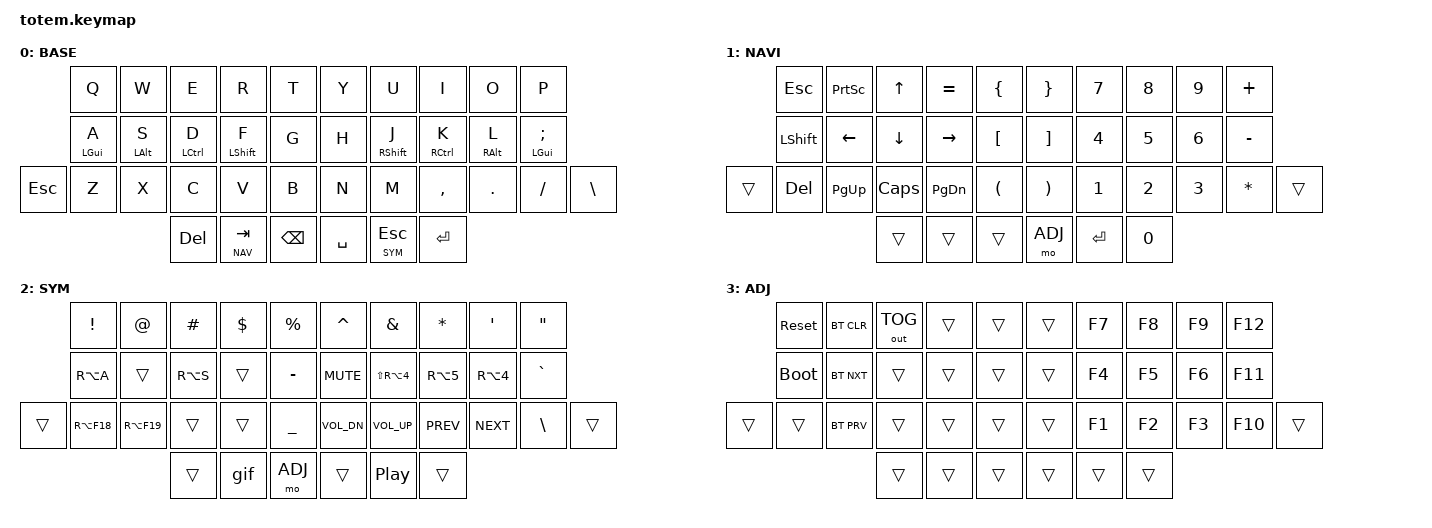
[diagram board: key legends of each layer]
//
//                                                        ▀▀▀▀▀     ▀▀▀▀▀          ▀▀█▀▀
//                                                        ▄▀▀▀▄  ▄  ▄▀▀▀▄  ▄  ▄▀▀▀▄  █  ▄▀▀▀▄
//                                                        █   █  █  █   █  █  █   █  █  █   █
//                                                         ▀▀▀   █   ▀▀▀   █   ▀▀▀   ▀   ▀▀▀
//                                                               █      ▄▄▄█▄▄▄    █   █  
//                                                               ▀      █  █  █     █▄█
//                                                             ▀▀▀▀▀    █  █  █      ▀
//                                                                      ▀  ▀  ▀
//
// ▄▄▄▄▄▄▄▄▄▄▄▄▄▄▄▄▄▄▄▄▄▄▄▄▄▄▄▄▄▄▄▄▄▄▄▄▄▄▄▄▄▄▄▄▄▄▄▄▄▄▄▄▄▄▄▄▄▄▄▄▄▄▄▄▄▄▄▄▄▄▄▄▄▄▄▄▄▄▄▄▄▄▄▄▄▄▄▄▄▄▄▄▄▄▄▄▄▄▄▄▄▄▄▄▄▄▄▄▄▄▄▄▄▄▄▄▄▄▄▄▄▄▄▄▄▄▄▄▄▄▄▄▄▄▄▄▄▄▄▄▄▄▄▄▄▄▄▄▄
       

#include <behaviors.dtsi>
#include <dt-bindings/zmk/keys.h>
#include <dt-bindings/zmk/bt.h>
#include <dt-bindings/zmk/outputs.h>

#define BASE 0
#define NAV  1
#define SYM  2
#define ADJ  3

&mt {
  quick-tap-ms = <100>;
  global-quick-tap;
  flavor = "tap-preferred";
  tapping-term-ms = <170>;
};

/ {
    combos {
            compatible = "zmk,combos";
            combo_esc {
                timeout-ms = <50>;
                key-positions = <0 1>;
                bindings = <&kp ESC>;
            };

      combo_enter_thumb {
    timeout-ms = <80>;
    key-positions = <34 35>;
    bindings = <&kp RET>;
}; 
      

    };

    macros {
        gif: gif {
            label = "giphy";
            compatible = "zmk,behavior-macro";
            #binding-cells = <0>;
            bindings
                = <&macro_press &kp LSHFT>
                , <&macro_tap &kp N2>
                , <&macro_release &kp LSHFT>
                , <&macro_tap &kp G &kp I &kp F>
                ;
        };
    };

        keymap {
                compatible = "zmk,keymap";
// ▄▄▄▄▄▄▄▄▄▄▄▄▄▄▄▄▄▄▄▄▄▄▄▄▄▄▄▄▄▄▄▄▄▄▄▄▄▄▄▄▄▄▄▄▄▄▄▄▄▄▄▄▄▄▄▄▄▄▄▄▄▄▄▄▄▄▄▄▄▄▄▄▄▄▄▄▄▄▄▄▄▄▄▄▄▄▄▄▄▄▄▄▄▄▄▄▄▄▄▄▄▄▄▄▄▄▄▄▄▄▄▄▄▄▄▄▄▄▄▄▄▄▄▄▄▄▄▄▄▄▄▄▄▄▄▄▄▄▄▄▄▄▄▄▄▄▄▄▄
//             ┏━━━━━━━━━━━┳━━━━━━━━━━━┳━━━━━━━━━━━┳━━━━━━━━━━━┳━━━━━━━━━━━┓   ┏━━━━━━━━━━━┳━━━━━━━━━━━┳━━━━━━━━━━━┳━━━━━━━━━━━┳━━━━━━━━━━━┓
//             ┃     Q     ┃     W     ┃     E     ┃     R     ┃     T     ┃   ┃     Y     ┃     U     ┃     I     ┃     O     ┃     P     ┃
//             ┣━━━━━━━━━━━╋━━━━━━━━━━━╋━━━━━━━━━━━╋━━━━━━━━━━━╋━━━━━━━━━━━┫   ┣━━━━━━━━━━━╋━━━━━━━━━━━╋━━━━━━━━━━━╋━━━━━━━━━━━╋━━━━━━━━━━━┫
//             ┃     A     ┃     R     ┃     S     ┃     T     ┃     D     ┃   ┃     H     ┃     J     ┃     K     ┃     L     ┃     ;     ┃
// ┏━━━━━━━━━━━╋━━━━━━━━━━━╋━━━━━━━━━━━╋━━━━━━━━━━━╋━━━━━━━━━━━╋━━━━━━━━━━━┫   ┣━━━━━━━━━━━╋━━━━━━━━━━━╋━━━━━━━━━━━╋━━━━━━━━━━━╋━━━━━━━━━━━╋━━━━━━━━━━━┓
// ┃           ┃     Z     ┃     X     ┃     C     ┃     V     ┃     B     ┃   ┃     N     ┃     M     ┃     ,     ┃     .     ┃     /     ┃      \    ┃
// ┗━━━━━━━━━━━┻━━━━━━━━━━━┻━━━━━━━━━━━╋━━━━━━━━━━━╋━━━━━━━━━━━╋━━━━━━━━━━━┫   ┣━━━━━━━━━━━╋━━━━━━━━━━━╋━━━━━━━━━━━╋━━━━━━━━━━━┻━━━━━━━━━━━┻━━━━━━━━━━━┛
//                                     ┃   DEL     ┃    TAB    ┃    bspc   ┃   ┃   SPACE   ┃   RET     ┃   SYM    ┃
//                                     ┗━━━━━━━━━━━┻━━━━━━━━━━━┻━━━━━━━━━━━┛   ┗━━━━━━━━━━━┻━━━━━━━━━━━┻━━━━━━━━━━━┛
base_layer {
label= "BASE";
bindings = <
                &kp Q       &kp W       &kp E       &kp R       &kp T           &kp Y       &kp U       &kp I       &kp O       &kp P
                &mt LGUI A  &mt LALT S  &mt LCTRL D &mt LSHFT F &kp G           &kp H       &mt RSHFT J &mt RCTRL K &mt RALT L  &mt LGUI SEMI
    &kp ESC     &kp Z       &kp X       &kp C       &kp V       &kp B           &kp N       &kp M       &kp COMMA   &kp DOT     &kp FSLH    &kp BSLH
                                        &kp DEL   &lt NAV TAB   &kp BSPC        &kp SPACE   &lt SYM ESC &kp RET
        >;
};
// ▄▄▄▄▄▄▄▄▄▄▄▄▄▄▄▄▄▄▄▄▄▄▄▄▄▄▄▄▄▄▄▄▄▄▄▄▄▄▄▄▄▄▄▄▄▄▄▄▄▄▄▄▄▄▄▄▄▄▄▄▄▄▄▄▄▄▄▄▄▄▄▄▄▄▄▄▄▄▄▄▄▄▄▄▄▄▄▄▄▄▄▄▄▄▄▄▄▄▄▄▄▄▄▄▄▄▄▄▄▄▄▄▄▄▄▄▄▄▄▄▄▄▄▄▄▄▄▄▄▄▄▄▄▄▄▄▄▄▄▄▄▄▄▄▄▄▄▄▄


                nav_layer {
// ┏━━━━━━━━━━━━━━━━━━━━━━━━━━━━━━━━━━━━━━━┓
label= "NAVI"                              ;
// ┗━━━━━━━━━━━━━━━━━━━━━━━━━━━━━━━━━━━━━━━┛
//             ┏━━━━━━━━━━━┳━━━━━━━━━━━┳━━━━━━━━━━━┳━━━━━━━━━━━┳━━━━━━━━━━━┓   ┏━━━━━━━━━━━┳━━━━━━━━━━━┳━━━━━━━━━━━┳━━━━━━━━━━━┳━━━━━━━━━━━┓
//             ┃           ┃           ┃     UP    ┃     =     ┃     {     ┃   ┃     }     ┃     7     ┃     8     ┃     9     ┃     +     ┃
//             ┣━━━━━━━━━━━╋━━━━━━━━━━━╋━━━━━━━━━━━╋━━━━━━━━━━━╋━━━━━━━━━━━┫   ┣━━━━━━━━━━━╋━━━━━━━━━━━╋━━━━━━━━━━━╋━━━━━━━━━━━╋━━━━━━━━━━━┫
//             ┃   SHIFT   ┃   LEFT    ┃    DOWN   ┃   RIGHT   ┃     [     ┃   ┃     ]     ┃     4     ┃     5     ┃     6     ┃     -     ┃
// ┏━━━━━━━━━━━╋━━━━━━━━━━━╋━━━━━━━━━━━╋━━━━━━━━━━━╋━━━━━━━━━━━╋━━━━━━━━━━━┫   ┣━━━━━━━━━━━╋━━━━━━━━━━━╋━━━━━━━━━━━╋━━━━━━━━━━━╋━━━━━━━━━━━╋━━━━━━━━━━━┓
// ┃           ┃           ┃   P UP    ┃  C LOCK   ┃  P DOWN   ┃     (     ┃   ┃     )     ┃     1     ┃     2     ┃     3     ┃     *     ┃           ┃
// ┗━━━━━━━━━━━┻━━━━━━━━━━━┻━━━━━━━━━━━╋━━━━━━━━━━━╋━━━━━━━━━━━╋━━━━━━━━━━━┫   ┣━━━━━━━━━━━╋━━━━━━━━━━━╋━━━━━━━━━━━╋━━━━━━━━━━━┻━━━━━━━━━━━┻━━━━━━━━━━━┛
//                                     ┃           ┃    TAB    ┃    SPC    ┃   ┃    DEL    ┃     0     ┃           ┃
//                                     ┗━━━━━━━━━━━┻━━━━━━━━━━━┻━━━━━━━━━━━┛   ┗━━━━━━━━━━━┻━━━━━━━━━━━┻━━━━━━━━━━━┛
 bindings = <
// ╷           ╷           ╷           ╷           ╷           ╷           ╷   ╷           ╷           ╷           ╷           ╷           ╷           ╷

                &kp ESC     &kp PSCRN   &kp UP      &kp EQUAL   &kp LBRC        &kp RBRC    &kp N7   &kp N8   &kp N9   &kp PLUS
                &kp LSHFT   &kp LEFT    &kp DOWN    &kp RIGHT   &kp LBKT        &kp RBKT    &kp N4   &kp N5   &kp N6   &kp MINUS
    &trans      &kp DEL     &kp PG_UP   &kp CAPS    &kp PG_DN   &kp LPAR        &kp RPAR    &kp N1   &kp N2   &kp N3   &kp ASTERISK &trans
                                        &trans      &trans      &trans          &mo ADJ     &kp RET  &kp N0
                        >;
                };

// ▄▄▄▄▄▄▄▄▄▄▄▄▄▄▄▄▄▄▄▄▄▄▄▄▄▄▄▄▄▄▄▄▄▄▄▄▄▄▄▄▄▄▄▄▄▄▄▄▄▄▄▄▄▄▄▄▄▄▄▄▄▄▄▄▄▄▄▄▄▄▄▄▄▄▄▄▄▄▄▄▄▄▄▄▄▄▄▄▄▄▄▄▄▄▄▄▄▄▄▄▄▄▄▄▄▄▄▄▄▄▄▄▄▄▄▄▄▄▄▄▄▄▄▄▄▄▄▄▄▄▄▄▄▄▄▄▄▄▄▄▄▄▄▄▄▄▄▄▄


                sim_layer {
// ┏━━━━━━━━━━━━━━━━━━━━━━━━━━━━━━━━━━━━━━━┓
label= "SYM"                               ;
// ┗━━━━━━━━━━━━━━━━━━━━━━━━━━━━━━━━━━━━━━━┛
//             ┏━━━━━━━━━━━┳━━━━━━━━━━━┳━━━━━━━━━━━┳━━━━━━━━━━━┳━━━━━━━━━━━┓   ┏━━━━━━━━━━━┳━━━━━━━━━━━┳━━━━━━━━━━━┳━━━━━━━━━━━┳━━━━━━━━━━━┓
//             ┃     !     ┃     @     ┃     #     ┃     $     ┃     %     ┃   ┃     ˆ     ┃     &     ┃     *     ┃     '     ┃     "     ┃
//             ┣━━━━━━━━━━━╋━━━━━━━━━━━╋━━━━━━━━━━━╋━━━━━━━━━━━╋━━━━━━━━━━━┫   ┣━━━━━━━━━━━╋━━━━━━━━━━━╋━━━━━━━━━━━╋━━━━━━━━━━━╋━━━━━━━━━━━┫
//             ┃     Ä     ┃           ┃    SZ     ┃           ┃     -     ┃   ┃   MUTE    ┃   YEN     ┃   EURO    ┃  POUND    ┃     Ö     ┃
// ┏━━━━━━━━━━━╋━━━━━━━━━━━╋━━━━━━━━━━━╋━━━━━━━━━━━╋━━━━━━━━━━━╋━━━━━━━━━━━┫   ┣━━━━━━━━━━━╋━━━━━━━━━━━╋━━━━━━━━━━━╋━━━━━━━━━━━╋━━━━━━━━━━━╋━━━━━━━━━━━┓
// ┃           ┃  EMAIL1   ┃  EMAIL2   ┃           ┃           ┃    under  ┃   ┃   VOL-    ┃   VOL+    ┃   LAST    ┃   NEXT    ┃     \     ┃           ┃
// ┗━━━━━━━━━━━┻━━━━━━━━━━━┻━━━━━━━━━━━╋━━━━━━━━━━━╋━━━━━━━━━━━╋━━━━━━━━━━━┫   ┣━━━━━━━━━━━╋━━━━━━━━━━━╋━━━━━━━━━━━╋━━━━━━━━━━━┻━━━━━━━━━━━┻━━━━━━━━━━━┛
//                                     ┃           ┃    GIF    ┃    ADJ    ┃   ┃           ┃           ┃           ┃
//                                     ┗━━━━━━━━━━━┻━━━━━━━━━━━┻━━━━━━━━━━━┛   ┗━━━━━━━━━━━┻━━━━━━━━━━━┻━━━━━━━━━━━┛
 bindings = <
// ╷           ╷           ╷           ╷           ╷           ╷           ╷   ╷           ╷           ╷           ╷           ╷           ╷           ╷

                &kp EXCL    &kp AT      &kp HASH    &kp DLLR    &kp PRCNT       &kp CARET   &kp AMPS    &kp ASTERISK   &kp SQT     &kp DQT       
                &kp RA(A)   &trans      &kp RA(S)   &trans      &kp MINUS       &kp C_MUTE  &kp LS(RA(N4)) &kp RA(N5) &kp RA(N4)   &kp GRAVE 
    &trans      &kp RA(F18) &kp RA(F19) &trans      &trans      &kp UNDER       &kp C_VOL_DN &kp C_VOL_UP &kp C_PREV &kp C_NEXT  &kp BSLH   &trans         
                                        &trans      &gif        &mo ADJ         &trans      &kp C_PP    &trans      
                        >;
                };

// ▄▄▄▄▄▄▄▄▄▄▄▄▄▄▄▄▄▄▄▄▄▄▄▄▄▄▄▄▄▄▄▄▄▄▄▄▄▄▄▄▄▄▄▄▄▄▄▄▄▄▄▄▄▄▄▄▄▄▄▄▄▄▄▄▄▄▄▄▄▄▄▄▄▄▄▄▄▄▄▄▄▄▄▄▄▄▄▄▄▄▄▄▄▄▄▄▄▄▄▄▄▄▄▄▄▄▄▄▄▄▄▄▄▄▄▄▄▄▄▄▄▄▄▄▄▄▄▄▄▄▄▄▄▄▄▄▄▄▄▄▄▄▄▄▄▄▄▄▄


                adjust_layer {
// ┏━━━━━━━━━━━━━━━━━━━━━━━━━━━━━━━━━━━━━━━┓
label= "ADJ"                               ;
// ┗━━━━━━━━━━━━━━━━━━━━━━━━━━━━━━━━━━━━━━━┛
//             ┏━━━━━━━━━━━┳━━━━━━━━━━━┳━━━━━━━━━━━┳━━━━━━━━━━━┳━━━━━━━━━━━┓   ┏━━━━━━━━━━━┳━━━━━━━━━━━┳━━━━━━━━━━━┳━━━━━━━━━━━┳━━━━━━━━━━━┓
//             ┃   RESET   ┃ BT CLEAR  ┃  OUT TOG  ┃           ┃           ┃   ┃           ┃    F7     ┃    F8     ┃    F9     ┃    F12    ┃
//             ┣━━━━━━━━━━━╋━━━━━━━━━━━╋━━━━━━━━━━━╋━━━━━━━━━━━╋━━━━━━━━━━━┫   ┣━━━━━━━━━━━╋━━━━━━━━━━━╋━━━━━━━━━━━╋━━━━━━━━━━━╋━━━━━━━━━━━┫
//             ┃ BOOTLOAD  ┃ BT NEXT   ┃           ┃           ┃           ┃   ┃           ┃    F4     ┃    F5     ┃    F6     ┃    F11    ┃
// ┏━━━━━━━━━━━╋━━━━━━━━━━━╋━━━━━━━━━━━╋━━━━━━━━━━━╋━━━━━━━━━━━╋━━━━━━━━━━━┫   ┣━━━━━━━━━━━╋━━━━━━━━━━━╋━━━━━━━━━━━╋━━━━━━━━━━━╋━━━━━━━━━━━╋━━━━━━━━━━━┓
// ┃           ┃           ┃ BT PREV   ┃           ┃           ┃           ┃   ┃           ┃    F1     ┃    F2     ┃    F3     ┃    F10    ┃           ┃
// ┗━━━━━━━━━━━┻━━━━━━━━━━━┻━━━━━━━━━━━╋━━━━━━━━━━━╋━━━━━━━━━━━╋━━━━━━━━━━━┫   ┣━━━━━━━━━━━╋━━━━━━━━━━━╋━━━━━━━━━━━╋━━━━━━━━━━━┻━━━━━━━━━━━┻━━━━━━━━━━━┛
//                                     ┃           ┃           ┃           ┃   ┃           ┃           ┃           ┃
//                                     ┗━━━━━━━━━━━┻━━━━━━━━━━━┻━━━━━━━━━━━┛   ┗━━━━━━━━━━━┻━━━━━━━━━━━┻━━━━━━━━━━━┛
 bindings = <
// ╷           ╷           ╷           ╷           ╷           ╷           ╷   ╷           ╷           ╷           ╷           ╷           ╷           ╷

                &sys_reset  &bt BT_CLR &out OUT_TOG &trans      &trans          &trans      &kp F7      &kp F8      &kp F9      &kp F12
                &bootloader &bt BT_NXT  &trans      &trans      &trans          &trans      &kp F4      &kp F5      &kp F6      &kp F11  
    &trans      &trans      &bt BT_PRV  &trans      &trans      &trans          &trans      &kp F1      &kp F2      &kp F3      &kp F10     &trans         
                                        &trans      &trans      &trans          &trans      &trans      &trans      
                        >;
                };
        };
};
